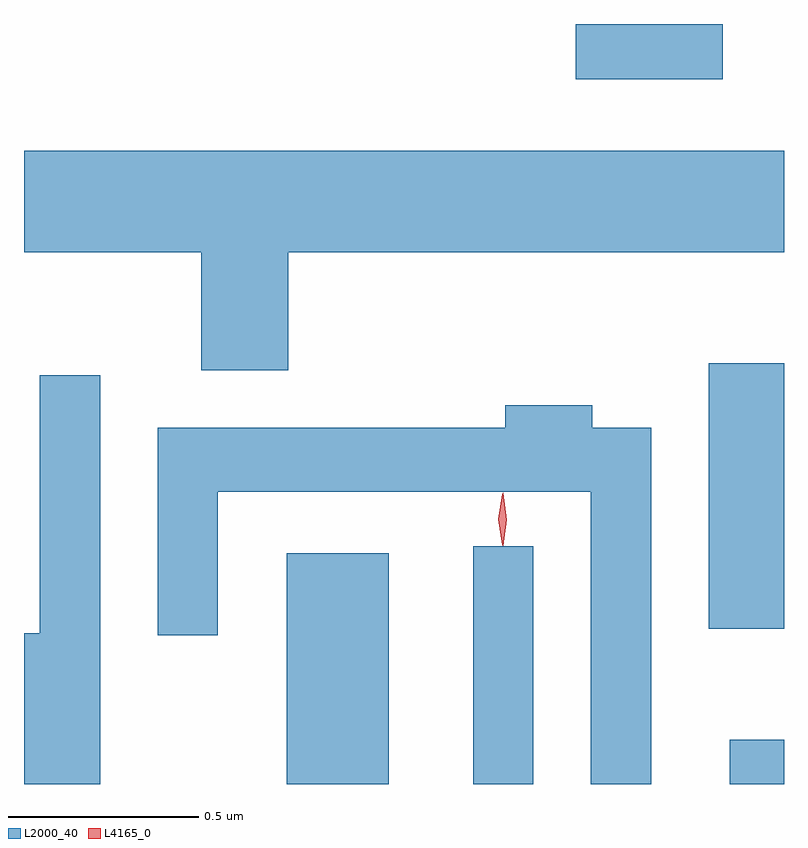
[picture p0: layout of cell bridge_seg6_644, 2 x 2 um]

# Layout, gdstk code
import gdstk
lib = gdstk.Library(unit=1e-6, precision=1e-09)
def R(c, l, rs):  # rectangles x0, y0, x1, y1
    for r in rs: c.add(gdstk.rectangle(r[:2], r[2:], *l))
def P(c, l, *ps):  # polygons
    for p in ps: c.add(gdstk.Polygon(p, *l))
L2000_40 = (2000, 40)
L4165_0 = (4165, 0)

bridge_seg6_644 = lib.new_cell('bridge_seg6_644')
R(bridge_seg6_644, L2000_40, [(508.676,1630.777,508.944,1631.384), (509.166,1630.777,509.324,1631.403), (509.841,1630.777,509.984,1630.894), (509.786,1631.186,509.984,1631.884), (509.436,1632.631,509.823,1632.777)])
P(bridge_seg6_644, L2000_40, [(508.679,1632.176),(509.984,1632.176),(509.984,1632.444),(507.984,1632.444),(507.984,1632.176),(508.451,1632.176),(508.451,1631.866),(508.679,1631.866)],
  [(508.184,1631.853),(508.026,1631.853),(508.026,1631.174),(507.984,1631.174),(507.984,1630.777),(508.184,1630.777)],
  [(509.634,1631.714),(509.479,1631.714),(509.479,1631.774),(509.251,1631.774),(509.251,1631.714),(508.336,1631.714),(508.336,1631.168),(508.494,1631.168),(508.494,1631.546),(509.476,1631.546),(509.476,1630.777),(509.634,1630.777)])
P(bridge_seg6_644, L4165_0, [(509.242,1631.407),(509.242,1631.407),(509.232,1631.474),(509.242,1631.54),(509.242,1631.54),(509.243,1631.54),(509.252,1631.474),(509.243,1631.407)],
  [(509.244,1631.404),(509.235,1631.473),(509.244,1631.542),(509.245,1631.543),(509.245,1631.542),(509.255,1631.473),(509.245,1631.404),(509.245,1631.404)])

lib.write_gds('bridge_seg6_644.gds')
